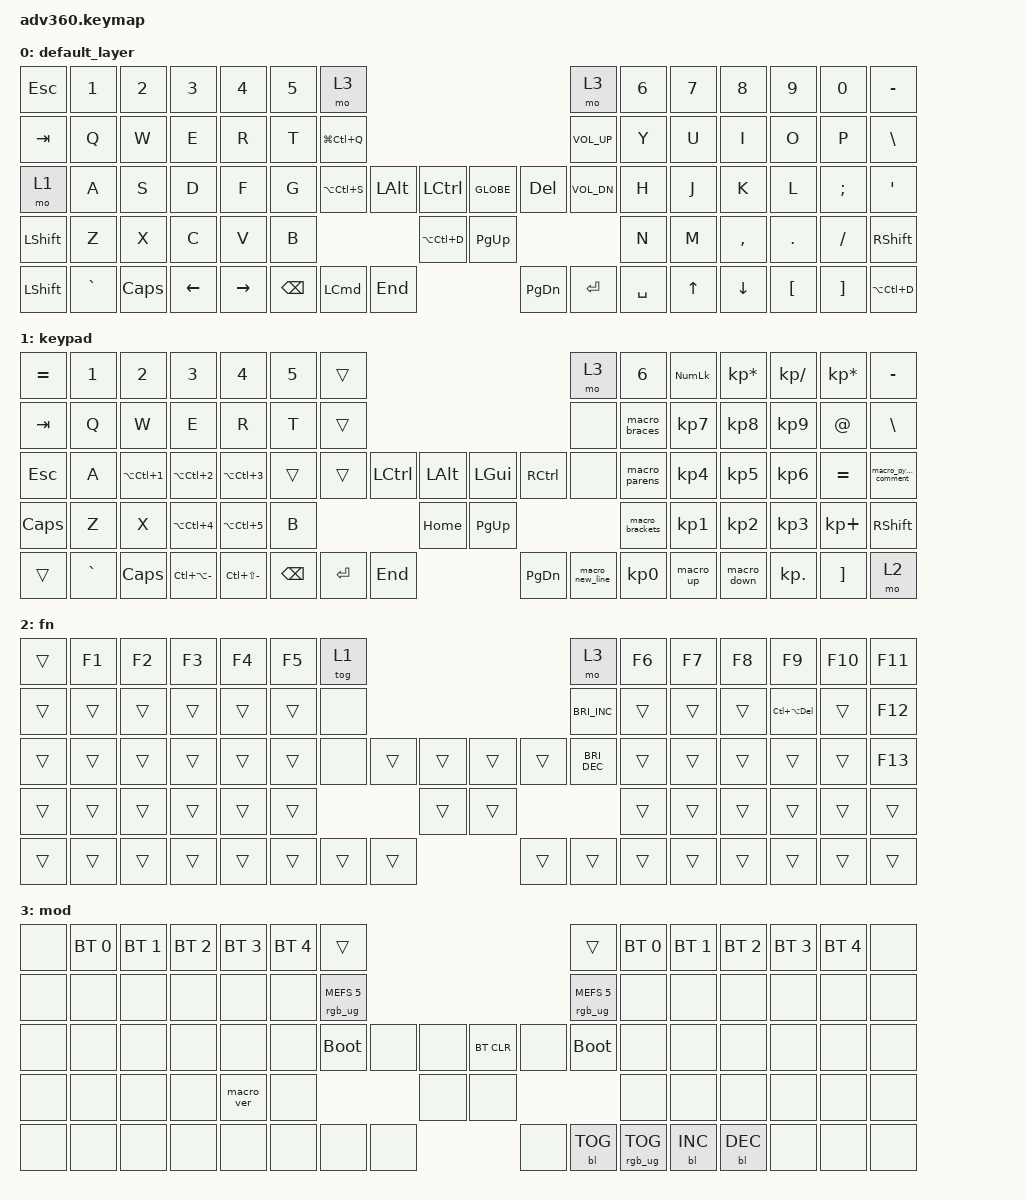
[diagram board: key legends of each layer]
#include <behaviors.dtsi>
#include <dt-bindings/zmk/keys.h>
#include <dt-bindings/zmk/bt.h>
#include <dt-bindings/zmk/rgb.h>
#include <dt-bindings/zmk/backlight.h>

/ {
    behaviors {
      #include "macros.dtsi"
      #include "version.dtsi"
      #ifndef VERSION_MACRO
      macro_ver: macro_ver {
        compatible = "zmk,behavior-macro";
        label = "macro_version";
        #binding-cells = <0>;
        bindings = <&kp RET>;
      };
      #endif

      hm: homerow_mods {
          compatible = "zmk,behavior-hold-tap";
          label = "HOMEROW_MODS";
          #binding-cells = <2>;
          tapping-term-ms = <200>;
          quick_tap_ms = <175>;
          flavor = "tap-preferred";
          bindings = <&kp>, <&kp>;
      };

    };

  keymap {
    compatible = "zmk,keymap";

    default_layer {
      bindings = <
        &kp ESC   &kp N1         &kp N2   &kp N3          &kp N4     &kp N5 &mo 3                                                                           &mo 3           &kp N6 &kp N7 &kp N8           &kp N9   &kp N0           &kp MINUS
        &kp TAB   &kp Q          &kp W    &kp E           &kp R      &kp T  &kp LG(LC(Q))                                                                   &kp C_VOL_UP    &kp Y  &kp U  &kp I            &kp O    &kp P            &kp BSLH
        &mo 1     &kp A          &kp S    &kp D           &kp F      &kp G  &kp LA(LC(S))            &kp LALT &kp LCTRL     &kp GLOBE   &kp DEL             &kp C_VOL_DN    &kp H  &kp J  &kp K            &kp L    &kp SEMI         &kp SQT
        &kp LSHFT &kp Z          &kp X    &kp C           &kp V      &kp B                                    &kp LA(LC(D)) &kp PG_UP                                       &kp N  &kp M  &kp COMMA        &kp DOT  &kp FSLH         &kp RSHFT
        &kp LSHFT &kp GRAVE      &kp CAPS &kp LEFT        &kp RIGHT                         &kp BSPC &kp LCMD &kp END       &kp PG_DN   &kp ENTER &kp SPACE                        &kp UP &kp DOWN         &kp LBKT &kp RBKT         &kp LA(LC(D))
      >;
    };
    keypad {
      bindings = <
        &kp EQUAL       &kp N1    &kp N2            &kp N3             &kp N4              &kp N5           &trans                                                                                   &mo 3 &kp N6           &kp KP_NUM &kp KP_ASTERISK    &kp KP_DIVIDE &kp KP_MULTIPLY &kp MINUS
        &kp TAB         &kp Q     &kp W             &kp E              &kp R               &kp T            &trans                                                                                   &none &macro_braces    &kp KP_N7  &kp KP_N8          &kp KP_N9     &kp AT          &kp BSLH
        &kp ESC         &kp A     &kp LA(LC(N1))    &kp LA(LC(N2))     &kp LA(LC(N3))      &trans           &trans                     &kp LCTRL &kp LALT &kp LGUI  &kp RCTRL                        &none &macro_parens    &kp KP_N4  &kp KP_N5          &kp KP_N6     &kp EQUAL       &macro_python_comment
        &kp CAPS        &kp Z     &kp X             &kp LA(LC(N4))     &kp LA(LC(N5))      &kp B                                                 &kp HOME &kp PG_UP                                        &macro_brackets  &kp KP_N1  &kp KP_N2          &kp KP_N3     &kp KP_PLUS     &kp RSHFT
        &trans          &kp GRAVE &kp CAPS          &kp LC(LA(MINUS))  &kp LC(LS(MINUS))                                      &kp BSPC &kp ENTER &kp END  &kp PG_DN &macro_new_line &kp KP_N0                               &macro_up  &macro_down        &kp KP_DOT    &kp RBKT        &mo 2
      >;
    };
    fn {
      bindings = <
        &trans &kp F1                 &kp F2      &kp F3              &kp F4                   &kp F5                   &tog 1                                          &mo 3                &kp F6          &kp F7              &kp F8                &kp F9           &kp F10      &kp F11
        &trans &trans                 &trans      &trans              &trans                   &trans                   &none                                           &kp C_BRIGHTNESS_INC &trans          &trans              &trans                &kp LC(LA(DEL))  &trans       &kp F12
        &trans &trans                 &trans      &trans              &trans                   &trans                   &none        &trans &trans &trans &trans        &kp C_BRIGHTNESS_DEC &trans          &trans              &trans                &trans           &trans       &kp F13
        &trans &trans                 &trans      &trans              &trans                   &trans                                       &trans &trans                                    &trans          &trans              &trans                &trans           &trans       &trans
        &trans &trans                 &trans      &trans              &trans                                                  &trans &trans &trans &trans &trans &trans                                      &trans              &trans                &trans           &trans       &trans
      >;
    };
    mod {
      bindings = <
        &none &bt BT_SEL 0 &bt BT_SEL 1 &bt BT_SEL 2 &bt BT_SEL 3 &bt BT_SEL 4 &trans                                                                         &trans                 &bt BT_SEL 0 &bt BT_SEL 1 &bt BT_SEL 2 &bt BT_SEL 3 &bt BT_SEL 4 &none
        &none &none        &none        &none        &none        &none        &rgb_ug RGB_MEFS_CMD 5                                                         &rgb_ug RGB_MEFS_CMD 5 &none        &none        &none        &none        &none        &none
        &none &none        &none        &none        &none        &none        &bootloader                  &none &none &bt BT_CLR &none                      &bootloader            &none        &none        &none        &none        &none        &none
        &none &none        &none        &none        &macro_ver   &none                                           &none &none                                                        &none        &none        &none        &none        &none        &none
        &none &none        &none        &none        &none                                            &none &none &none &none      &bl BL_TOG &rgb_ug RGB_TOG                                     &bl BL_INC   &bl BL_DEC   &none        &none        &none
      >;
    };
  };
};
